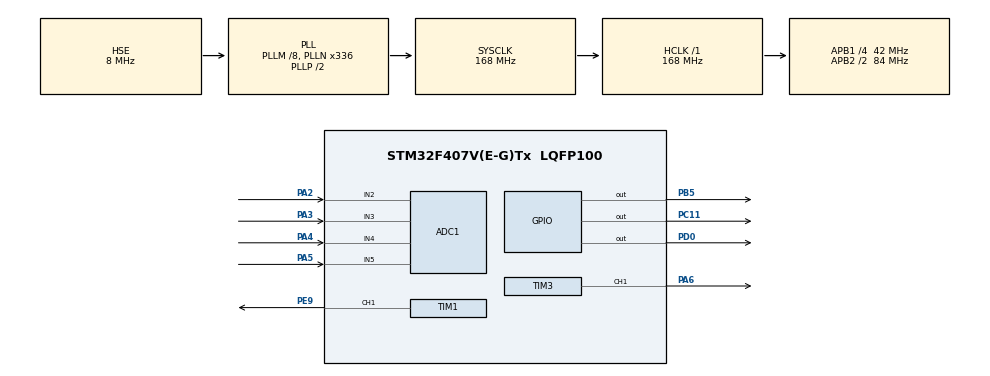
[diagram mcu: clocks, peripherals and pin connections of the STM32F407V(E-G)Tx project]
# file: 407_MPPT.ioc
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ADC1.Channel-0\#ChannelRegularConversion=ADC_CHANNEL_2
ADC1.Channel-1\#ChannelInjectedConversion=ADC_CHANNEL_5
ADC1.Channel-2\#ChannelInjectedConversion=ADC_CHANNEL_4
ADC1.Channel-3\#ChannelInjectedConversion=ADC_CHANNEL_3
ADC1.Channel-4\#ChannelInjectedConversion=ADC_CHANNEL_2
ADC1.ExternalTrigInjecConv=ADC_EXTERNALTRIGINJECCONV_T2_TRGO
ADC1.InjNumberOfConversion=4
ADC1.InjectedOffset-1\#ChannelInjectedConversion=0
ADC1.InjectedOffset-2\#ChannelInjectedConversion=0
ADC1.InjectedOffset-3\#ChannelInjectedConversion=0
ADC1.InjectedOffset-4\#ChannelInjectedConversion=0
ADC1.InjectedRank-1\#ChannelInjectedConversion=1
ADC1.InjectedRank-2\#ChannelInjectedConversion=2
ADC1.InjectedRank-3\#ChannelInjectedConversion=3
ADC1.InjectedRank-4\#ChannelInjectedConversion=4
ADC1.NbrOfConversionFlag=1
ADC1.Rank-0\#ChannelRegularConversion=1
ADC1.SamplingTime-0\#ChannelRegularConversion=ADC_SAMPLETIME_3CYCLES
ADC1.SamplingTime-1\#ChannelInjectedConversion=ADC_SAMPLETIME_3CYCLES
ADC1.SamplingTime-2\#ChannelInjectedConversion=ADC_SAMPLETIME_3CYCLES
ADC1.SamplingTime-3\#ChannelInjectedConversion=ADC_SAMPLETIME_3CYCLES
ADC1.SamplingTime-4\#ChannelInjectedConversion=ADC_SAMPLETIME_3CYCLES
ADC1.ScanConvMode=ENABLE
ADC1.master=1
Mcu.Family=STM32F4
Mcu.Name=STM32F407V(E-G)Tx
Mcu.Package=LQFP100
NVIC.ADC_IRQn=true\:0\:0\:false\:false\:true\:true\:true\:true
NVIC.PriorityGroup=NVIC_PRIORITYGROUP_4
NVIC.TIM2_IRQn=true\:0\:0\:false\:false\:true\:true\:true\:true
PA2.Signal=ADCx_IN2
PA3.Signal=ADCx_IN3
PA4.Signal=ADCx_IN4
PA5.Signal=ADCx_IN5
PA6.Signal=S_TIM3_CH1
PB5.Signal=GPIO_Output
PC11.Signal=GPIO_Output
PD0.Signal=GPIO_Output
PE9.Signal=S_TIM1_CH1
PH0-OSC_IN.Mode=HSE-External-Oscillator
PH0-OSC_IN.Signal=RCC_OSC_IN
PH1-OSC_OUT.Mode=HSE-External-Oscillator
PH1-OSC_OUT.Signal=RCC_OSC_OUT
ProjectManager.HeapSize=0x200
ProjectManager.StackSize=0x400
ProjectManager.TargetToolchain=STM32CubeIDE
RCC.48MHZClocksFreq_Value=84000000
RCC.AHBFreq_Value=168000000
RCC.APB1CLKDivider=RCC_HCLK_DIV4
RCC.APB1Freq_Value=42000000
RCC.APB1TimFreq_Value=84000000
RCC.APB2CLKDivider=RCC_HCLK_DIV2
RCC.APB2Freq_Value=84000000
RCC.APB2TimFreq_Value=168000000
RCC.CortexFreq_Value=168000000
RCC.HCLKFreq_Value=168000000
RCC.HSE_VALUE=8000000
RCC.HSI_VALUE=16000000
RCC.LSE_VALUE=32768
RCC.PLLM=8
RCC.PLLN=336
RCC.PLLSourceVirtual=RCC_PLLSOURCE_HSE
RCC.SYSCLKFreq_VALUE=168000000
RCC.SYSCLKSource=RCC_SYSCLKSOURCE_PLLCLK
RCC.VCOOutputFreq_Value=336000000
SH.ADCx_IN2.0=ADC1_IN2,IN2
SH.ADCx_IN3.0=ADC1_IN3,IN3
SH.ADCx_IN4.0=ADC1_IN4,IN4
SH.ADCx_IN5.0=ADC1_IN5,IN5
SH.S_TIM1_CH1.0=TIM1_CH1,PWM Generation1 CH1
SH.S_TIM3_CH1.0=TIM3_CH1,PWM Generation1 CH1
TIM1.Channel-PWM\ Generation1\ CH1=TIM_CHANNEL_1
TIM2.Channel-PWM\ Generation1\ No\ Output=TIM_CHANNEL_1
TIM2.Period=4200
TIM2.TIM_MasterOutputTrigger=TIM_TRGO_UPDATE
TIM3.Channel-PWM\ Generation1\ CH1=TIM_CHANNEL_1
TIM3.Period=10
TIM3.Prescaler=1000
TIM3.Pulse-PWM\ Generation1\ CH1=5
VP_TIM1_VS_ClockSourceINT.Mode=Internal
VP_TIM2_VS_ClockSourceINT.Mode=Internal
VP_TIM2_VS_no_output1.Mode=PWM Generation1 No Output
VP_TIM3_VS_ClockSourceINT.Mode=Internal
board=custom

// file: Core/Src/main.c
/* USER CODE BEGIN Header */
/**
 ******************************************************************************
 * @file           : main.c
 * @brief          : Main program body
 ******************************************************************************
 * @attention
 *
 * <h2><center>&copy; Copyright (c) 2022 STMicroelectronics.
 * All rights reserved.</center></h2>
 *
 * This software component is licensed by ST under BSD 3-Clause license,
 * the "License"; You may not use this file except in compliance with the
 * License. You may obtain a copy of the License at:
 *                        opensource.org/licenses/BSD-3-Clause
 *
 ******************************************************************************
 */
/* USER CODE END Header */
#include "main.h"

ADC_HandleTypeDef hadc1;

TIM_HandleTypeDef htim1;
TIM_HandleTypeDef htim2;
TIM_HandleTypeDef htim3;

/* USER CODE BEGIN PV */
float ADCValue3, ADCValue2, ADCValue1, ADCValue0, ADCValue, DutyCyc1 ,DutyCyc2 ;

float kp=3.7563,ki=0.16814,kd=0;// ki değeri sabit akım modunda emf oluşmasına sebep oluyor.
float rectif=1210;//Sabit gerilim için 360,sabit akım için 1210
float pid_p=0,pid_i=0,pid_d=0,PID;
float error0,previous_error;
unsigned long t_now,t_last,dt;

float BatVoltage=0,BatCurrent,PVvoltage,PVcurrent;

float currentCharging = 2;
float voltageBatteryMax = 12.6;

float P, dV, dP, duty, deltaD = 0.001;
float Vold, Pold, duty_old;

float duty_init = 0.1;
float duty_min = 0.05;
float duty_max = 0.95;  //boost conv %50 duty cycle altında çalışması tavsiye edilir.
/* USER CODE END PV */

void SystemClock_Config(void);
static void MX_GPIO_Init(void);
static void MX_ADC1_Init(void);
static void MX_TIM1_Init(void);
static void MX_TIM2_Init(void);
static void MX_TIM3_Init(void);
/* USER CODE BEGIN PFP */
float MPPT_Algorithm(float,float);
float PID_Algorithm(float);
float MPPT_CCCV(float, float, float);
/* USER CODE END PFP */

int main(void)
{

  /* MCU Configuration--------------------------------------------------------*/

  /* Reset of all peripherals, Initializes the Flash interface and the Systick. */
  HAL_Init();

  /* Configure the system clock */
  SystemClock_Config();

  /* Initialize all configured peripherals */
  MX_GPIO_Init();
  MX_ADC1_Init();
  MX_TIM1_Init();
  MX_TIM2_Init();
  MX_TIM3_Init();
  /* USER CODE BEGIN 2 */

// start pwm generation
	if (HAL_TIM_PWM_Start(&htim2, TIM_CHANNEL_1) != HAL_OK)
		Error_Handler();

	if(HAL_ADCEx_InjectedStart_IT(&hadc1) != HAL_OK)
	  	  Error_Handler();

	if (HAL_TIM_PWM_Start(&htim1, TIM_CHANNEL_1) != HAL_OK)
			Error_Handler();

	if (HAL_TIM_PWM_Start(&htim3, TIM_CHANNEL_1) != HAL_OK)
				Error_Handler();

  /* USER CODE END 2 */

  /* Infinite loop */
	while (1) {

	}
}

void SystemClock_Config(void)
{
  RCC_OscInitTypeDef RCC_OscInitStruct = {0};
  RCC_ClkInitTypeDef RCC_ClkInitStruct = {0};

  /** Configure the main internal regulator output voltage
  */
  __HAL_RCC_PWR_CLK_ENABLE();
  __HAL_PWR_VOLTAGESCALING_CONFIG(PWR_REGULATOR_VOLTAGE_SCALE1);

  /** Initializes the RCC Oscillators according to the specified parameters
  * in the RCC_OscInitTypeDef structure.
  */
  RCC_OscInitStruct.OscillatorType = RCC_OSCILLATORTYPE_HSE;
  RCC_OscInitStruct.HSEState = RCC_HSE_ON;
  RCC_OscInitStruct.PLL.PLLState = RCC_PLL_ON;
  RCC_OscInitStruct.PLL.PLLSource = RCC_PLLSOURCE_HSE;
  RCC_OscInitStruct.PLL.PLLM = 8;
  RCC_OscInitStruct.PLL.PLLN = 336;
  RCC_OscInitStruct.PLL.PLLP = RCC_PLLP_DIV2;
  RCC_OscInitStruct.PLL.PLLQ = 4;
  if (HAL_RCC_OscConfig(&RCC_OscInitStruct) != HAL_OK)
  {
    Error_Handler();
  }

  /** Initializes the CPU, AHB and APB buses clocks
  */
  RCC_ClkInitStruct.ClockType = RCC_CLOCKTYPE_HCLK|RCC_CLOCKTYPE_SYSCLK
                              |RCC_CLOCKTYPE_PCLK1|RCC_CLOCKTYPE_PCLK2;
  RCC_ClkInitStruct.SYSCLKSource = RCC_SYSCLKSOURCE_PLLCLK;
  RCC_ClkInitStruct.AHBCLKDivider = RCC_SYSCLK_DIV1;
  RCC_ClkInitStruct.APB1CLKDivider = RCC_HCLK_DIV4;
  RCC_ClkInitStruct.APB2CLKDivider = RCC_HCLK_DIV2;

  if (HAL_RCC_ClockConfig(&RCC_ClkInitStruct, FLASH_LATENCY_5) != HAL_OK)
  {
    Error_Handler();
  }
}

static void MX_ADC1_Init(void)
{

  ADC_ChannelConfTypeDef sConfig = {0};
  ADC_InjectionConfTypeDef sConfigInjected = {0};

  /** Configure the global features of the ADC (Clock, Resolution, Data Alignment and number of conversion)
  */
  hadc1.Instance = ADC1;
  hadc1.Init.ClockPrescaler = ADC_CLOCK_SYNC_PCLK_DIV4;
  hadc1.Init.Resolution = ADC_RESOLUTION_12B;
  hadc1.Init.ScanConvMode = ENABLE;
  hadc1.Init.ContinuousConvMode = DISABLE;
  hadc1.Init.DiscontinuousConvMode = DISABLE;
  hadc1.Init.ExternalTrigConvEdge = ADC_EXTERNALTRIGCONVEDGE_NONE;
  hadc1.Init.ExternalTrigConv = ADC_SOFTWARE_START;
  hadc1.Init.DataAlign = ADC_DATAALIGN_RIGHT;
  hadc1.Init.NbrOfConversion = 1;
  hadc1.Init.DMAContinuousRequests = DISABLE;
  hadc1.Init.EOCSelection = ADC_EOC_SINGLE_CONV;
  if (HAL_ADC_Init(&hadc1) != HAL_OK)
  {
    Error_Handler();
  }

  /** Configure for the selected ADC regular channel its corresponding rank in the sequencer and its sample time.
  */
  sConfig.Channel = ADC_CHANNEL_2;
  sConfig.Rank = 1;
  sConfig.SamplingTime = ADC_SAMPLETIME_3CYCLES;
  if (HAL_ADC_ConfigChannel(&hadc1, &sConfig) != HAL_OK)
  {
    Error_Handler();
  }

  /** Configures for the selected ADC injected channel its corresponding rank in the sequencer and its sample time
  */
  sConfigInjected.InjectedChannel = ADC_CHANNEL_5;
  sConfigInjected.InjectedRank = 1;
  sConfigInjected.InjectedNbrOfConversion = 4;
  sConfigInjected.InjectedSamplingTime = ADC_SAMPLETIME_3CYCLES;
  sConfigInjected.ExternalTrigInjecConvEdge = ADC_EXTERNALTRIGINJECCONVEDGE_RISING;
  sConfigInjected.ExternalTrigInjecConv = ADC_EXTERNALTRIGINJECCONV_T2_TRGO;
  sConfigInjected.AutoInjectedConv = DISABLE;
  sConfigInjected.InjectedDiscontinuousConvMode = DISABLE;
  sConfigInjected.InjectedOffset = 0;
  if (HAL_ADCEx_InjectedConfigChannel(&hadc1, &sConfigInjected) != HAL_OK)
  {
    Error_Handler();
  }

  /** Configures for the selected ADC injected channel its corresponding rank in the sequencer and its sample time
  */
  sConfigInjected.InjectedChannel = ADC_CHANNEL_4;
  sConfigInjected.InjectedRank = 2;
  if (HAL_ADCEx_InjectedConfigChannel(&hadc1, &sConfigInjected) != HAL_OK)
  {
    Error_Handler();
  }

  /** Configures for the selected ADC injected channel its corresponding rank in the sequencer and its sample time
  */
  sConfigInjected.InjectedChannel = ADC_CHANNEL_3;
  sConfigInjected.InjectedRank = 3;
  if (HAL_ADCEx_InjectedConfigChannel(&hadc1, &sConfigInjected) != HAL_OK)
  {
    Error_Handler();
  }

  /** Configures for the selected ADC injected channel its corresponding rank in the sequencer and its sample time
  */
  sConfigInjected.InjectedChannel = ADC_CHANNEL_2;
  sConfigInjected.InjectedRank = 4;
  if (HAL_ADCEx_InjectedConfigChannel(&hadc1, &sConfigInjected) != HAL_OK)
  {
    Error_Handler();
  }

}

static void MX_TIM1_Init(void)
{

  TIM_ClockConfigTypeDef sClockSourceConfig = {0};
  TIM_MasterConfigTypeDef sMasterConfig = {0};
  TIM_OC_InitTypeDef sConfigOC = {0};
  TIM_BreakDeadTimeConfigTypeDef sBreakDeadTimeConfig = {0};

  htim1.Instance = TIM1;
  htim1.Init.Prescaler = 0;
  htim1.Init.CounterMode = TIM_COUNTERMODE_UP;
  htim1.Init.Period = 65535;
  htim1.Init.ClockDivision = TIM_CLOCKDIVISION_DIV1;
  htim1.Init.RepetitionCounter = 0;
  htim1.Init.AutoReloadPreload = TIM_AUTORELOAD_PRELOAD_DISABLE;
  if (HAL_TIM_Base_Init(&htim1) != HAL_OK)
  {
    Error_Handler();
  }
  sClockSourceConfig.ClockSource = TIM_CLOCKSOURCE_INTERNAL;
  if (HAL_TIM_ConfigClockSource(&htim1, &sClockSourceConfig) != HAL_OK)
  {
    Error_Handler();
  }
  if (HAL_TIM_PWM_Init(&htim1) != HAL_OK)
  {
    Error_Handler();
  }
  sMasterConfig.MasterOutputTrigger = TIM_TRGO_RESET;
  sMasterConfig.MasterSlaveMode = TIM_MASTERSLAVEMODE_DISABLE;
  if (HAL_TIMEx_MasterConfigSynchronization(&htim1, &sMasterConfig) != HAL_OK)
  {
    Error_Handler();
  }
  sConfigOC.OCMode = TIM_OCMODE_PWM1;
  sConfigOC.Pulse = 0;
  sConfigOC.OCPolarity = TIM_OCPOLARITY_HIGH;
  sConfigOC.OCNPolarity = TIM_OCNPOLARITY_HIGH;
  sConfigOC.OCFastMode = TIM_OCFAST_DISABLE;
  sConfigOC.OCIdleState = TIM_OCIDLESTATE_RESET;
  sConfigOC.OCNIdleState = TIM_OCNIDLESTATE_RESET;
  if (HAL_TIM_PWM_ConfigChannel(&htim1, &sConfigOC, TIM_CHANNEL_1) != HAL_OK)
  {
    Error_Handler();
  }
  sBreakDeadTimeConfig.OffStateRunMode = TIM_OSSR_DISABLE;
  sBreakDeadTimeConfig.OffStateIDLEMode = TIM_OSSI_DISABLE;
  sBreakDeadTimeConfig.LockLevel = TIM_LOCKLEVEL_OFF;
  sBreakDeadTimeConfig.DeadTime = 0;
  sBreakDeadTimeConfig.BreakState = TIM_BREAK_DISABLE;
  sBreakDeadTimeConfig.BreakPolarity = TIM_BREAKPOLARITY_HIGH;
  sBreakDeadTimeConfig.AutomaticOutput = TIM_AUTOMATICOUTPUT_DISABLE;
  if (HAL_TIMEx_ConfigBreakDeadTime(&htim1, &sBreakDeadTimeConfig) != HAL_OK)
  {
    Error_Handler();
  }
  HAL_TIM_MspPostInit(&htim1);

}

static void MX_TIM2_Init(void)
{

  TIM_ClockConfigTypeDef sClockSourceConfig = {0};
  TIM_MasterConfigTypeDef sMasterConfig = {0};
  TIM_OC_InitTypeDef sConfigOC = {0};

  htim2.Instance = TIM2;
  htim2.Init.Prescaler = 0;
  htim2.Init.CounterMode = TIM_COUNTERMODE_UP;
  htim2.Init.Period = 4200;
  htim2.Init.ClockDivision = TIM_CLOCKDIVISION_DIV1;
  htim2.Init.AutoReloadPreload = TIM_AUTORELOAD_PRELOAD_DISABLE;
  if (HAL_TIM_Base_Init(&htim2) != HAL_OK)
  {
    Error_Handler();
  }
  sClockSourceConfig.ClockSource = TIM_CLOCKSOURCE_INTERNAL;
  if (HAL_TIM_ConfigClockSource(&htim2, &sClockSourceConfig) != HAL_OK)
  {
    Error_Handler();
  }
  if (HAL_TIM_PWM_Init(&htim2) != HAL_OK)
  {
    Error_Handler();
  }
  sMasterConfig.MasterOutputTrigger = TIM_TRGO_UPDATE;
  sMasterConfig.MasterSlaveMode = TIM_MASTERSLAVEMODE_DISABLE;
  if (HAL_TIMEx_MasterConfigSynchronization(&htim2, &sMasterConfig) != HAL_OK)
  {
    Error_Handler();
  }
  sConfigOC.OCMode = TIM_OCMODE_PWM1;
  sConfigOC.Pulse = 0;
  sConfigOC.OCPolarity = TIM_OCPOLARITY_HIGH;
  sConfigOC.OCFastMode = TIM_OCFAST_DISABLE;
  if (HAL_TIM_PWM_ConfigChannel(&htim2, &sConfigOC, TIM_CHANNEL_1) != HAL_OK)
  {
    Error_Handler();
  }

}

static void MX_TIM3_Init(void)
{

  TIM_ClockConfigTypeDef sClockSourceConfig = {0};
  TIM_MasterConfigTypeDef sMasterConfig = {0};
  TIM_OC_InitTypeDef sConfigOC = {0};

  htim3.Instance = TIM3;
  htim3.Init.Prescaler = 1000;
  htim3.Init.CounterMode = TIM_COUNTERMODE_UP;
  htim3.Init.Period = 10;
  htim3.Init.ClockDivision = TIM_CLOCKDIVISION_DIV1;
  htim3.Init.AutoReloadPreload = TIM_AUTORELOAD_PRELOAD_DISABLE;
  if (HAL_TIM_Base_Init(&htim3) != HAL_OK)
  {
    Error_Handler();
  }
  sClockSourceConfig.ClockSource = TIM_CLOCKSOURCE_INTERNAL;
  if (HAL_TIM_ConfigClockSource(&htim3, &sClockSourceConfig) != HAL_OK)
  {
    Error_Handler();
  }
  if (HAL_TIM_PWM_Init(&htim3) != HAL_OK)
  {
    Error_Handler();
  }
  sMasterConfig.MasterOutputTrigger = TIM_TRGO_RESET;
  sMasterConfig.MasterSlaveMode = TIM_MASTERSLAVEMODE_DISABLE;
  if (HAL_TIMEx_MasterConfigSynchronization(&htim3, &sMasterConfig) != HAL_OK)
  {
    Error_Handler();
  }
  sConfigOC.OCMode = TIM_OCMODE_PWM1;
  sConfigOC.Pulse = 5;
  sConfigOC.OCPolarity = TIM_OCPOLARITY_HIGH;
  sConfigOC.OCFastMode = TIM_OCFAST_DISABLE;
  if (HAL_TIM_PWM_ConfigChannel(&htim3, &sConfigOC, TIM_CHANNEL_1) != HAL_OK)
  {
    Error_Handler();
  }
  HAL_TIM_MspPostInit(&htim3);

}

static void MX_GPIO_Init(void)
{
  GPIO_InitTypeDef GPIO_InitStruct = {0};

  /* GPIO Ports Clock Enable */
  __HAL_RCC_GPIOH_CLK_ENABLE();
  __HAL_RCC_GPIOA_CLK_ENABLE();
  __HAL_RCC_GPIOE_CLK_ENABLE();
  __HAL_RCC_GPIOC_CLK_ENABLE();
  __HAL_RCC_GPIOD_CLK_ENABLE();
  __HAL_RCC_GPIOB_CLK_ENABLE();

  /*Configure GPIO pin Output Level */
  HAL_GPIO_WritePin(GPIOC, GPIO_PIN_11, GPIO_PIN_RESET);

  /*Configure GPIO pin Output Level */
  HAL_GPIO_WritePin(GPIOD, GPIO_PIN_0, GPIO_PIN_RESET);

  /*Configure GPIO pin Output Level */
  HAL_GPIO_WritePin(GPIOB, GPIO_PIN_5, GPIO_PIN_RESET);

  /*Configure GPIO pin : PC11 */
  GPIO_InitStruct.Pin = GPIO_PIN_11;
  GPIO_InitStruct.Mode = GPIO_MODE_OUTPUT_PP;
  GPIO_InitStruct.Pull = GPIO_NOPULL;
  GPIO_InitStruct.Speed = GPIO_SPEED_FREQ_LOW;
  HAL_GPIO_Init(GPIOC, &GPIO_InitStruct);

  /*Configure GPIO pin : PD0 */
  GPIO_InitStruct.Pin = GPIO_PIN_0;
  GPIO_InitStruct.Mode = GPIO_MODE_OUTPUT_PP;
  GPIO_InitStruct.Pull = GPIO_NOPULL;
  GPIO_InitStruct.Speed = GPIO_SPEED_FREQ_LOW;
  HAL_GPIO_Init(GPIOD, &GPIO_InitStruct);

  /*Configure GPIO pin : PB5 */
  GPIO_InitStruct.Pin = GPIO_PIN_5;
  GPIO_InitStruct.Mode = GPIO_MODE_OUTPUT_PP;
  GPIO_InitStruct.Pull = GPIO_NOPULL;
  GPIO_InitStruct.Speed = GPIO_SPEED_FREQ_LOW;
  HAL_GPIO_Init(GPIOB, &GPIO_InitStruct);

}

/* USER CODE BEGIN 4 */

void HAL_ADCEx_InjectedConvCpltCallback(ADC_HandleTypeDef* hadc) {

	HAL_GPIO_TogglePin(GPIOB, GPIO_PIN_5); //Dijital çıkış almamın sbebei işlem süresini ölçmek

	HAL_ADCEx_InjectedPollForConversion(&hadc1, 0); //poll for conv fonk çağırmak zorundasın, delay koymana gerek yok.
	ADCValue0 = HAL_ADCEx_InjectedGetValue(&hadc1, 4);//rank sırasına ters başlayarak sonuç alabildim

	HAL_GPIO_TogglePin(GPIOC, GPIO_PIN_11);

	HAL_ADCEx_InjectedPollForConversion(&hadc1, 0);
	ADCValue1 = HAL_ADCEx_InjectedGetValue(&hadc1, 3);

	HAL_GPIO_TogglePin(GPIOC, GPIO_PIN_11);

	HAL_ADCEx_InjectedPollForConversion(&hadc1, 0);
	ADCValue2 = HAL_ADCEx_InjectedGetValue(&hadc1, 2);

	HAL_GPIO_TogglePin(GPIOC, GPIO_PIN_11);

	HAL_ADCEx_InjectedPollForConversion(&hadc1, 0);
	ADCValue3 = HAL_ADCEx_InjectedGetValue(&hadc1, 1);

	HAL_GPIO_TogglePin(GPIOC, GPIO_PIN_11);

//	BatCurrent = ADCValue1 / 505;
//	BatVoltage = ADCValue0 / 10;

	PVvoltage = ((ADCValue0) / 47.5); // bu değerlerin tekrar ayarlanması lazım
	PVcurrent = (ADCValue1 / 500);

	error0 = currentCharging - PVcurrent;//Sabit gerilim için 0,sabit akım için 1

//	DutyCyc1 = (((PID_Algorithm(error0)) * 8400) / 4096);//duty cycle = CCRx/ARRx [%]

	//DutyCyc2 = ((MPPT_CCCV(PVvoltage,PVcurrent,BatVoltage)) * 4200);

	DutyCyc2 = PID_Algorithm(error0);

//	if (DutyCyc1 < 840) {//Sabit akım modunda %50 Duty cycle altında sorun çıkıyor.
//		DutyCyc1 = 840;
//	}
//	if (DutyCyc1 > 6720) {
//		DutyCyc1 = 6720;
//	}

	TIM1->CCR1 = DutyCyc1;

	TIM3->CCR1 = DutyCyc2;  //DutyCycle2 %10 420

}

float PID_Algorithm(float error1) {

	pid_p = kp * error1;

	if (-5 > error1 || error1 > 5) {//5 değeri integral için ideal
		pid_i = pid_i + (ki * error1);
	}

	PID = (pid_p + pid_i)/10; // 10 a bölünmesinin sebebi emi oluşumunu azaltmak.

	return PID*4200;

}

float MPPT_Algorithm(float V, float I) {

	if (Vold == '\0') {
		Vold = 0;
		Pold = 0;
		duty_old = duty_init;
	}

	P = V * I;
	dV = V - Vold;
	dP = P - Pold;
	duty = duty_old;

	if (dP != 0) {
		if (dP < 0) {
			if (dV < 0){
				duty = duty_old - deltaD;
			}
			else{
				duty = duty_old + deltaD;
			}
		} else {
			if (dV < 0){
				duty = duty_old + deltaD;
			}
			else{
				duty = duty_old - deltaD;
			}
		}
	}

	if (duty >= duty_max) {
		duty = duty_max;
	}
	if (duty < duty_min) {
		duty = duty_min;
	}

	duty_old = duty;
	Vold = V;
	Pold = P;

	return duty;
}

float MPPT_CCCV(float Vin, float I, float Vout) {

	P = Vin * I;
	dV = Vin - Vold;
	dP = P - Pold;
	duty = duty_old;

	if (I > currentCharging) {
		duty = duty_old - deltaD;
	}                                   		//Current Is Above  Decrease Duty Cycle
	else if (Vout > voltageBatteryMax) {
//		duty = duty_old - deltaD;
	}                               			//Voltage Is Above  Decrease Duty Cycle
	else {
			if (dP < 0) {
				if (dV < 0) {
					duty = duty_old + deltaD;

				} else {
					duty = duty_old - deltaD;

				}
			} else {
				if (dV < 0) {
					duty = duty_old - deltaD;

				} else {
					duty = duty_old + deltaD;

				}
		}

		if (duty >= duty_max) {
			duty = duty_max;
		} else if (duty < duty_min) {
			duty = duty_min;
		}
	}

	Pold = P;             				//Store Previous Recorded Power
	Vold = Vin; 						//Store Previous Recorded Voltage
	duty_old = duty;

	if (duty >= duty_max) {
		duty = duty_max;
	} else if (duty < duty_min) {
		duty = duty_min;
	}

	return duty;

}

/* USER CODE END 4 */

void Error_Handler(void)
{
	__disable_irq();
	while (1) {
	}
}
